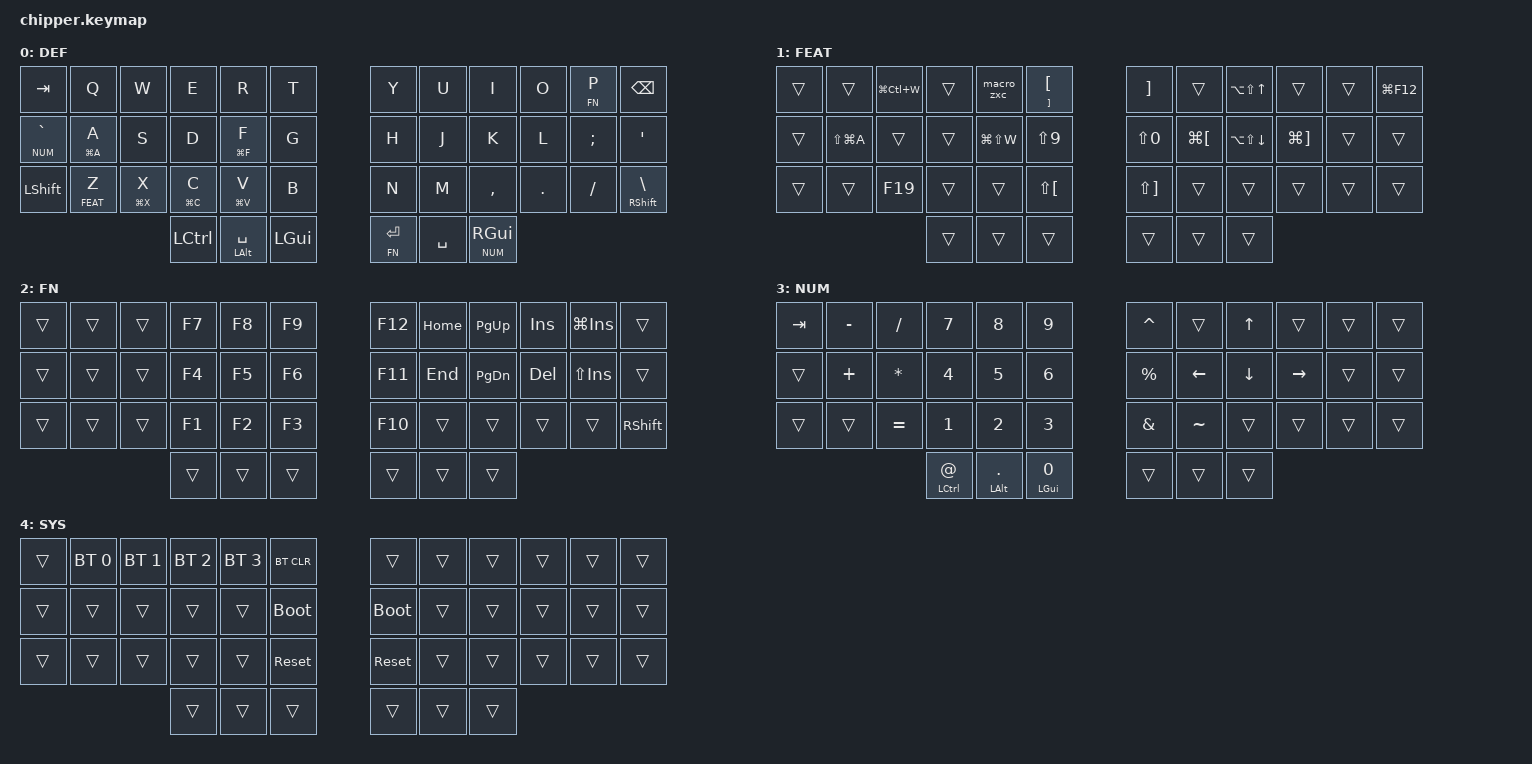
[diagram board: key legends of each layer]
#include <behaviors.dtsi>
#include <dt-bindings/zmk/keys.h>
#include <dt-bindings/zmk/bt.h>
#include <dt-bindings/zmk/outputs.h>

#define XXX &none
#define ___ &trans

#define COMBO_TIMEOUT 60

#define DEF 0
#define FEAT 1
#define FN 2
#define NUM 3
#define SYS 4

/ {
    macros {
        nayeon: nayeon {
                compatible = "zmk,behavior-macro";
                #binding-cells = <0>;
                bindings
                    = <&macro_tap_time 10>
            ,<&macro_tap &kp N &kp A &kp Y &kp E &kp O &kp N &kp RET>;
            };
        // utility bindings = <¯o_todo>; // - [ ]
        macro_todo: macro_todo {
                label = "macro_todo";
                compatible = "zmk,behavior-macro";
                #binding-cells = <0>;
                wait-ms = <10>;
                tap-ms = <10>;
                bindings
                = <&kp MINUS &kp SPACE &kp LBKT &kp SPACE &kp RBKT &kp SPACE>
                ;
            };
        // programming
        macro_js_tl: macro_js_tl {
                label = "macro_js_tl";
                compatible = "zmk,behavior-macro";
                #binding-cells = <0>;
                wait-ms = <10>;
                tap-ms = <10>;
                bindings
                = <&kp GRAVE &kp DOLLAR &kp LBRC &kp RBRC &kp GRAVE &kp LEFT &kp LEFT>
                ;
        };
        macro_zxc: macro_zxc {
                label = "macro_zxc";
                compatible = "zmk,behavior-macro";
                #binding-cells = <0>;
                wait-ms = <10>;
                tap-ms = <10>;
                bindings 
                = <&kp Z &kp X &kp C &kp Z &kp X &kp C>
                ;
        };
    };
};

/ {
    combos {
        compatible = "zmk,combos";
	    combo_cw {
            timeout-ms = <COMBO_TIMEOUT>;
            key-positions = <6 30>;
            bindings = <&nayeon>;
        };
        // Symbols / Operations
        compatible = "zmk,combos";
        combo_lbkt {
        timeout-ms = <50>;
        key-positions = <4 5>; // KP: RT
        bindings = <&mt RBKT LBKT>; // ][ // 可以用CMD+这个单手返回到代码上一个编辑的地方 或者网页返回
        layers = <0 1 2 3 4>;
        };
        combo_rbkt {
        timeout-ms = <50>;
        key-positions = <6 7>; // KP: YU
        bindings = <&kp RBKT>; // ]
        layers = <0 1 2 3 4>;
        };
        combo_lpar {
        timeout-ms = <50>;
        key-positions = <16 17>; // KP: FG
        bindings = <&kp LS(N9)>; // ) (
        layers = <0 1 2 3 4>;
        };
        combo_rpar {
        timeout-ms = <50>;
        key-positions = <18 19>; // KP: HJ
        bindings = <&kp LS(N0)>; // )
        layers = <0 1 2 3 4>;
        };
        combo_lbrc {
        timeout-ms = <50>;
        key-positions = <28 29>; // KP: VB
        bindings = <&kp LS(LBKT)>; // }{
        layers = <0 1 2 3 4>;
        };
        combo_rbrc {
        timeout-ms = <50>;
        key-positions = <30 31>; // KP: NM
        bindings = <&kp LS(RBKT)>; // }
        layers = <0 1 2 3 4>;
        }; 
        combo_fslh {
        timeout-ms = <50>;
        key-positions = <19 30>; // KP: BJ
        bindings = <&kp FSLH>; // forward slash /
        layers = <0 1 2 3 4>;
        };
        combo_bslh {
        timeout-ms = <50>;
        key-positions = <16 29>; // KP: VF
        bindings = <&kp BSLH>; // back slash \
        layers = <0 1 2 3 4>;
        }; 
        combo_equal {
        timeout-ms = <50>;
        key-positions = <9 10>; // KP: op
        bindings = <&mt GREATER_THAN EQUAL>; // > (= & +) //短击连着长按同一个键 即可输出箭头 => 
        layers = <0 1 2 3 4>;
        }; 
        combo_minus2 {
        timeout-ms = <50>;
        key-positions = <8 9>; // KP: io
        bindings = <&mt LESS_THAN MINUS>; // (< & -) // 结合上面=> 单杠或者双杠的双向箭头 
        layers = <0 1 2 3 4>;
        }; 
        combo_excl {
        timeout-ms = <50>;
        key-positions = <8 21>; // KP: il
        bindings = <&kp EXCLAMATION>; // ! // 常用符号 一般在句子结尾 放得里逗号句号近一点 IL不容易误触也符合手型
        layers = <0 1 2 3 4>;
        }; 
        combo_tag {
        timeout-ms = <50>;
        key-positions = <3 4>; // KP: er
        bindings = <&mt GREATER_THAN LESS_THAN>; // > < // 由于上面的[](){}都可以用左手单手输入了，所以加一个同样原理的<> 方便html写tag
        layers = <0 1 2 3 4>;
        }; 
        combo_dollar {
        timeout-ms = <50>;
        key-positions = <27 28>; // KP: xc
        bindings = <&kp DOLLAR>; // ($) // 因为上面的符号组合用到了$, 所以顺势将27 28设为输出$
        layers = <0 1 2 3 4>;
        }; 
        combo_double_quote{
        timeout-ms = <50>;
        key-positions = <23 35>; // KP: rshft '
        bindings = <&kp LS(SQT)>; // select string and => "string" // 右手拿着鼠标选择string，然后大拇指靠近键盘同时按右下角两个键输出double quote，这样就不需要按shift + ‘了，手都不需要离开鼠标。
        layers = <0 1 2 3 4>;
        }; 
        combo_under {
        timeout-ms = <100>; // 因为是两字手分别同时按键，所以时间稍微调长一些，按照个人习惯调整。
        key-positions = <29 30>; // KP: BN
        bindings = <&kp UNDER>; // (_) // 象形+位置
        layers = <0 1 2 3 4>;
        };
        combo_minus {
        timeout-ms = <100>; // 因为是两字手分别同时按键，所以时间稍微调长一些，按照个人习惯调整。
        key-positions = <17 18>; // KP: GH 
        bindings = <&kp MINUS>; // (-) // 象形+位置
        layers = <0 1 2 3 4>;
        };
        combo_pipe_pilcrow {
        timeout-ms = <100>; // 因为是两字手分别同时按键，所以时间稍微调长一些，按照个人习惯调整。
        key-positions = <5 6>; // KP: TY
        bindings = <&mt LA(N7) PIPE>; // (¶ |) ¶:start of a paragraph // 象形+位置
        layers = <0 1 2 3 4>;
        };
        combo_hash {
        timeout-ms = <50>;
        key-positions = <3 14>; // KP: SE
        bindings = <&kp HASH>; // (#) // 写Markdown标题和Python comment比较方便，还因为 “#” 本身就是 “shift+3”，而3的位置在普通佩列键盘的E上面
        layers = <0 1 2 3 4>;
        };

        // arrow keys
        combo_right {
        timeout-ms = <50>;
        key-positions = <15 16>; // KP: DF
        bindings = <&kp RIGHT>; // 方便中文输入切换下一个选项，结合右手的JK enter，小键盘输入中文也毫无障碍
        layers = <0 1 2 3 4>;
        }; 
        combo_left {
        timeout-ms = <50>;
        key-positions = <14 15>; // KP: SD
        bindings = <&kp LEFT>; // 同上逻辑，方便中文输入。再加上强迫症，所以上下左右都放了，形成一个像游戏手柄的D-Pad
        layers = <0 1 2 3 4>;
        }; 
        combo_up{
        timeout-ms = <50>;
        key-positions = <3 15>; // KP: ED 
        bindings = <&kp UP>; // 上下键不怎么用，一些需要用上下左右的组合软件功能键，我都放在切层里，用上一篇中方向键的位置。如果使用的话是直接按两个键中间
        layers = <0 1 2 3 4>;
        }; 
        combo_down {
        timeout-ms = <50>;
        key-positions = <15 27>; // KP: DX
        bindings = <&kp DOWN>; 
        layers = <0 1 2 3 4>;
        }; 

        // Power ESC ENTER
        combo_k_pwr {
        timeout-ms = <50>;
        key-positions = <0 38>;
        bindings = <&kp K_PWR>; // Power (Keyboard) // 熄屏
        layers = <0 1 2 3 4>;
        };
        combo_esc {
        timeout-ms = <50>;
        key-positions = <0 1>;
        bindings = <&kp ESC>; // ESC
        layers = <0 1 2 3 4>;
        };
        combo_left_bspc {
        timeout-ms = <50>;
        key-positions = <12 13>; // KP: CAP A
        bindings = <&kp BSPC>; // backspace // 方便右手鼠标，左手删除
        layers = <0 1 2 3 4>;
        };
        combo_alt_bspc {
        timeout-ms = <50>;
        key-positions = <20 21>; // KP: KL
        bindings = <&kp LA(BSPC)>; // Alt(backspace) // 英文输入方便快捷删除整个单词
        layers = <0 1 2 3 4>;
        };
        combo_enter {
        timeout-ms = <100>;
        key-positions = <19 20>; // KP: JK
        bindings = <&kp ENTER>; // enter // 个人偏好，觉得JK输入ENTER很爽。虽然上一篇中提到右手有个拇指键是Enter，但我从来都不用，拇指负责功能和切层键还有空格。
        layers = <0 1 2 3 4>;
        };
        combo_f_twelve {
        timeout-ms = <100>;
        key-positions = <10 11>; // KP: P BSPC
        bindings = <&kp F12>; // F12  //  方便开发的时候使用
        layers = <0 1 2 3 4>;
        };
        combo_key_repeat {
        timeout-ms = <100>;
        key-positions = <12 24>; // KP: Caps Shift
        bindings = <&key_repeat>; // 重复上一个或者一组输入，详情看zmk doc 
        layers = <0 1 2 3 4>;
        };
    };
};

/ {
        bht: balanced_hold_taps {
            compatible = "zmk,behavior-hold-tap";
            #binding-cells = <2>;
            tapping-term-ms = <280>;    // <---[[moderate duration]]
            flavor = "balanced";
            bindings = <&kp>, <&kp>;
            quick-tap-ms = <175>;       // repeat on tap-into-hold
            require-prior-idle-ms = <150>;
        };
    };
/ {
    conditional_layers {
        compatible = "zmk,conditional-layers";
        tri_layer {
            if-layers = <1 2>;
            then-layer = <4>;
        };
    }; 
};

/ {
        keymap {
                compatible = "zmk,keymap";

                DEF_layer {
                        display-name = "DEF";
                        bindings = <
//╭──────╮ ╭─────────────┬─────────────┬─────────────┬─────────────┬─────────────╮   ╭─────────────┬─────────────┬─────────────┬─────────────┬─────────────╮ ╭──────╮
&kp TAB         &kp Q         &kp W         &kp E         &kp R         &kp T           &kp Y         &kp U         &kp I         &kp O         &lt FN P      &kp BSPC
//├──────┤ ├─────────────┼─────────────┼─────────────┼─────────────┼─────────────┤   ├─────────────┼─────────────┼─────────────┼─────────────┼─────────────┤ ├──────┤
&lt NUM GRAVE &bht LG(A) A     &kp S       &kp D         &bht LG(F) F    &kp G           &kp H         &kp J         &kp K         &kp L         &kp SEMI      &kp APOS
//├──────┤ ├─────────────┼─────────────┼─────────────┼─────────────┼─────────────┤   ├─────────────┼─────────────┼─────────────┼─────────────┼─────────────┤ ├──────┤
&kp LSHFT    &lt FEAT Z     &bht LG(X) X   &bht LG(C) C   &bht LG(V) V   &kp B           &kp N         &kp M         &kp COMMA     &kp DOT       &kp FSLH      &bht RSHFT BSLH
//├──────┤ ╰─────────────┴─────────────┼─────────────┼─────────────┼─────────────┤   ├─────────────┼─────────────┼─────────────┼─────────────┴─────────────╯ ├──────┤
                                         &kp LCTRL      &bht LALT SPC    &kp LGUI        &lt FN RET    &kp SPC      &lt NUM RGUI
//                                     ╰─────────────┴─────────────┴─────────────╯   ╰─────────────┴─────────────┼─────────────╯
                        >;
                };

                FEAT_layer {
                        display-name = "FEAT";
                        bindings = <
//╭──────╮ ╭─────────────┬─────────────┬─────────────┬─────────────┬─────────────╮ ╭─────────────┬─────────────┬─────────────┬─────────────┬─────────────╮ ╭──────╮
    ___      ___           &kp LG(LC(W))     ___       &macro_zxc   &bht RBKT LBKT   &kp RBKT       ___         &kp LA(LS(UP))      ___            ___    &kp LG(F12)
//├──────┤ ├─────────────┼─────────────┼─────────────┼─────────────┼─────────────┤ ├─────────────┼─────────────┼─────────────┼─────────────┼─────────────┤ ├──────┤
    ___      &kp LS(LG(A))    ___          ___         &kp LG(LS(W))  &kp LS(N9)       &kp LS(0)   &kp LG(LBKT)  &kp LA(LS(DOWN)) &kp LG(RBKT)    ___        ___ 
//├──────┤ ├─────────────┼─────────────┼─────────────┼─────────────┼─────────────┤ ├─────────────┼─────────────┼─────────────┼─────────────┼─────────────┤ ├──────┤
    ___      ___            &kp F19           ___           ___       &kp LS(LBKT)  &kp LS(RBKT)         ___           ___           ___          ___        ___
//├──────┤ ╰─────────────┴─────────────┼─────────────┼─────────────┼─────────────┤ ├─────────────┼─────────────┼─────────────┼─────────────┴─────────────╯ ├──────┤
                                          ___           ___            ___              ___           ___          ___
//                                     ╰────────────╰─────────────┴──────────────╯ ╰─────────────┴─────────────╯─────────────╯                                           
                        >;
                };

                FN_layer {
                        display-name = "FN";
                        bindings = <
//╭──────╮ ╭─────────────┬─────────────┬─────────────┬─────────────┬─────────────╮ ╭─────────────┬─────────────┬─────────────┬─────────────┬─────────────╮ ╭──────╮
    ___        ___         ___              &kp F7        &kp F8        &kp F9         &kp F12       &kp HOME     &kp PG_UP     &kp INS       &kp LG(INS)    ___
//├──────┤ ├─────────────┼─────────────┼─────────────┼─────────────┼─────────────┤ ├─────────────┼─────────────┼─────────────┼─────────────┼─────────────┤ ├──────┤
    ___        ___         ___              &kp F4        &kp F5        &kp F6         &kp F11       &kp END      &kp PG_DN     &kp DEL      &kp LS(INS)     ___
//├──────┤ ├─────────────┼─────────────┼─────────────┼─────────────┼─────────────┤ ├─────────────┼─────────────┼─────────────┼─────────────┼─────────────┤ ├──────┤
    ___        ___         ___              &kp F1        &kp F2        &kp F3         &kp F10       ___             ___           ___           ___         &kp RSHFT
//├──────┤ ╰─────────────┼─────────────┴─────────────┼─────────────┼─────────────┤ ├─────────────┼─────────────┼─────────────┴─────────────┴─────────────╯ ├──────┤
                                               ___        ___           ___            ___           ___           ___                                       
//                                           ╰──────╯╰─────────────┴─────────────╯ ╰─────────────┴─────────────╯╰──────╯                                           
                        >;
		};
		
        		NUM_layer {
                        display-name = "NUM";
                        bindings = <
//╭──────╮ ╭─────────────┬─────────────┬─────────────┬─────────────┬─────────────╮ ╭─────────────┬─────────────┬─────────────┬─────────────┬─────────────╮ ╭──────╮
   &kp TAB   &kp MINUS      &kp FSLH     &kp N7          &kp N8        &kp N9        &kp CARET        ___          &kp UP         ___            ___         ___
//├──────┤ ├─────────────┼─────────────┼─────────────┼─────────────┼─────────────┤ ├─────────────┼─────────────┼─────────────┼─────────────┼─────────────┤ ├──────┤
    ___      &kp PLUS       &kp STAR     &kp N4          &kp N5        &kp N6        &kp PRCNT      &kp LEFT       &kp DOWN     &kp RIGHT        ___         ___
//├──────┤ ├─────────────┼─────────────┼─────────────┼─────────────┼─────────────┤ ├─────────────┼─────────────┼─────────────┼─────────────┼─────────────┤ ├──────┤
    ___        ___          &kp EQUAL    &kp N1          &kp N2        &kp N3        &kp AMPS       &kp TILDE       ___           ___            ___         ___
//├──────┤ ╰─────────────┼─────────────┴─────────────┼─────────────┼─────────────┤ ├─────────────┼─────────────┼─────────────┴─────────────┴─────────────╯ ├──────┤
                                         &mt LCTRL AT  &mt LALT DOT  &mt LGUI N0        ___            ___         ___
//                                     ╰─────────────┴─────────────┴─────────────╯ ╰─────────────┴─────────────╯ ╰──────╯
                        >;
		};

        		SYS_layer {
                        display-name = "SYS";
                        bindings = <
//╭──────╮ ╭─────────────┬─────────────┬─────────────┬─────────────┬─────────────╮ ╭─────────────┬─────────────┬─────────────┬─────────────┬─────────────╮ ╭──────╮
    ___    &bt BT_SEL 0   &bt BT_SEL 1  &bt BT_SEL 2  &bt BT_SEL 3   &bt BT_CLR       ___           ___           ___           ___           ___             ___
//├──────┤ ├─────────────┼─────────────┼─────────────┼─────────────┼─────────────┤ ├─────────────┼─────────────┼─────────────┼─────────────┼─────────────┤ ├──────┤
    ___     ___           ___           ___           ___           &bootloader       &bootloader   ___           ___           ___           ___             ___
//├──────┤ ├─────────────┼─────────────┼─────────────┼─────────────┼─────────────┤ ├─────────────┼─────────────┼─────────────┼─────────────┼─────────────┤ ├──────┤
    ___     ___           ___           ___           ___           &sys_reset        &sys_reset    ___           ___           ___           ___             ___
//├──────┤ ╰─────────────┼─────────────┴─────────────┼─────────────┼─────────────┤ ├─────────────┼─────────────┼─────────────┴───────────────────────────╯ ├──────┤
    ___                                                ___           ___              ___           ___                                                       ___
//╰──────╯                                           ╰─────────────┴─────────────╯ ╰─────────────┴─────────────╯                                           ╰──────╯
                        >;
		};
        };
};
